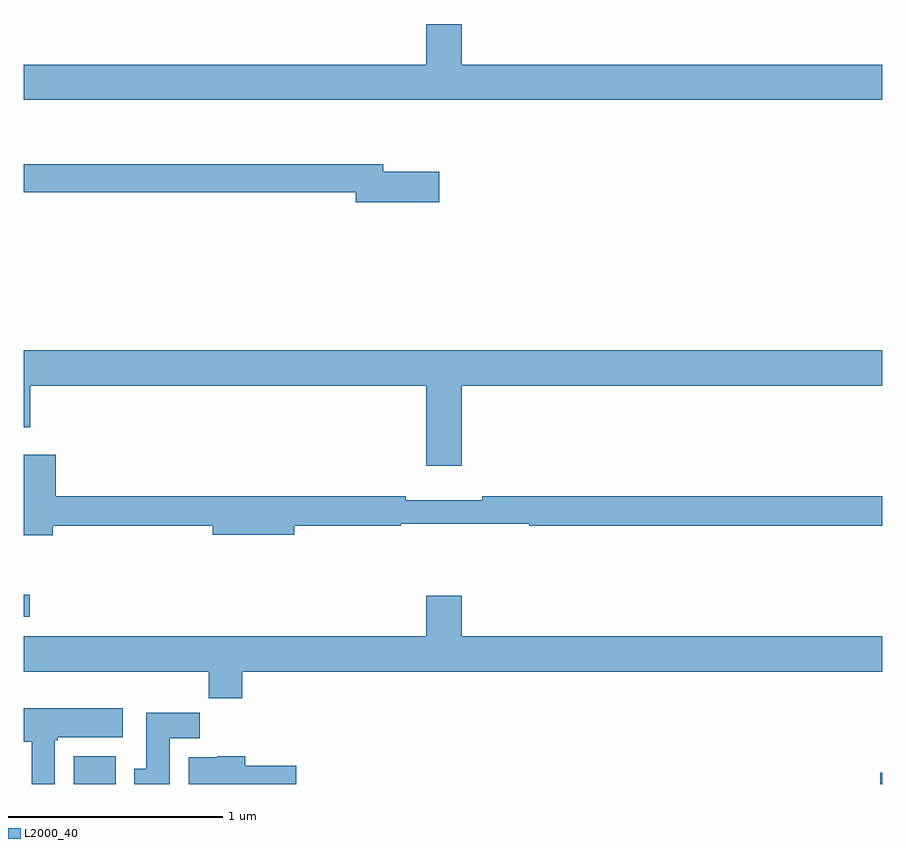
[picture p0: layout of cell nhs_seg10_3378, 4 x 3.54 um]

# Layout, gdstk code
import gdstk
lib = gdstk.Library(unit=1e-6, precision=1e-09)
def R(c, l, rs):  # rectangles x0, y0, x1, y1
    for r in rs: c.add(gdstk.rectangle(r[:2], r[2:], *l))
def P(c, l, *ps):  # polygons
    for p in ps: c.add(gdstk.Polygon(p, *l))
L2000_40 = (2000, 40)

nhs_seg10_3378 = lib.new_cell('nhs_seg10_3378')
R(nhs_seg10_3378, L2000_40, [(295.232,1258.5,295.429,1258.63), (298.991,1258.5,299,1258.552), (295,1259.28,295.027,1259.381)])
P(nhs_seg10_3378, L2000_40, [(299,1261.852),(297.04,1261.852),(297.04,1262.041),(296.876,1262.041),(296.876,1261.852),(295,1261.852),(295,1261.688),(299,1261.688)],
  [(296.935,1261.353),(296.674,1261.353),(296.674,1261.387),(295,1261.387),(295,1261.258),(296.546,1261.258),(296.546,1261.211),(296.935,1261.211)],
  [(297.04,1260.356),(299,1260.356),(299,1260.52),(295,1260.52),(295,1260.162),(295.031,1260.162),(295.031,1260.356),(296.876,1260.356),(296.876,1259.982),(297.04,1259.982)],
  [(295.135,1259.704),(295.88,1259.704),(295.88,1259.662),(296.26,1259.662),(296.26,1259.704),(296.756,1259.704),(296.756,1259.712),(297.356,1259.712),(297.356,1259.704),(299,1259.704),(299,1259.84),(297.136,1259.84),(297.136,1259.821),(296.78,1259.821),(296.78,1259.84),(295.148,1259.84),(295.148,1260.034),(295,1260.034),(295,1259.66),(295.135,1259.66)],
  [(296.018,1259.024),(299,1259.024),(299,1259.188),(297.04,1259.188),(297.04,1259.377),(296.876,1259.377),(296.876,1259.188),(295,1259.188),(295,1259.024),(295.861,1259.024),(295.861,1258.9),(296.018,1258.9)],
  [(295.144,1258.705),(295.158,1258.705),(295.158,1258.718),(295.462,1258.718),(295.462,1258.852),(295,1258.852),(295,1258.698),(295.037,1258.698),(295.037,1258.5),(295.144,1258.5)],
  [(295.681,1258.712),(295.82,1258.712),(295.82,1258.831),(295.571,1258.831),(295.571,1258.572),(295.514,1258.572),(295.514,1258.5),(295.681,1258.5)],
  [(296.269,1258.584),(296.033,1258.584),(296.033,1258.63),(295.902,1258.63),(295.902,1258.624),(295.769,1258.624),(295.769,1258.5),(296.269,1258.5)])

lib.write_gds('nhs_seg10_3378.gds')
